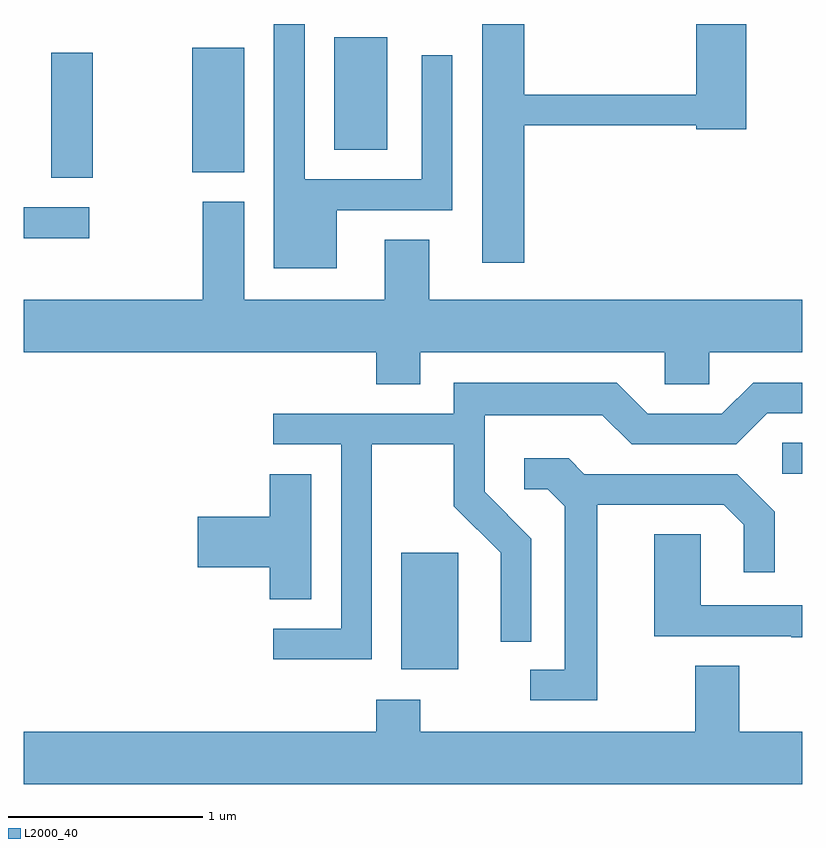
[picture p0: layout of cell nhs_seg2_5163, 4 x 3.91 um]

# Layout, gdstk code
import gdstk
lib = gdstk.Library(unit=1e-6, precision=1e-09)
def R(c, l, rs):  # rectangles x0, y0, x1, y1
    for r in rs: c.add(gdstk.rectangle(r[:2], r[2:], *l))
def P(c, l, *ps):  # polygons
    for p in ps: c.add(gdstk.Polygon(p, *l))
L2000_40 = (2000, 40)

nhs_seg2_5163 = lib.new_cell('nhs_seg2_5163')
R(nhs_seg2_5163, L2000_40, [(339.551,1024.486,339.844,1025.084), (341.508,1025.491,341.611,1025.649), (337.611,1026.701,337.948,1026.859), (337.751,1027.011,337.964,1027.654), (338.476,1027.041,338.744,1027.679), (339.206,1027.156,339.479,1027.734)])
P(nhs_seg2_5163, L2000_40, [(340.184,1027.281),(341.066,1027.281),(341.066,1027.261),(341.324,1027.261),(341.324,1027.802),(341.066,1027.802),(341.066,1027.439),(340.184,1027.439),(340.184,1027.802),(339.966,1027.802),(339.966,1026.576),(340.184,1026.576)],
  [(339.219,1026.846),(339.814,1026.846),(339.814,1027.642),(339.656,1027.642),(339.656,1027.004),(339.054,1027.004),(339.054,1027.802),(338.896,1027.802),(338.896,1026.546),(339.219,1026.546)],
  [(339.649,1026.116),(340.906,1026.116),(340.906,1025.951),(341.134,1025.951),(341.134,1026.116),(341.611,1026.116),(341.611,1026.384),(339.694,1026.384),(339.694,1026.694),(339.466,1026.694),(339.466,1026.384),(338.744,1026.384),(338.744,1026.889),(338.531,1026.889),(338.531,1026.384),(337.611,1026.384),(337.611,1026.116),(339.421,1026.116),(339.421,1025.951),(339.649,1025.951)],
  [(339.399,1025.641),(339.821,1025.641),(339.821,1025.324),(340.061,1025.084),(340.061,1024.628),(340.219,1024.628),(340.219,1025.157),(339.979,1025.397),(339.979,1025.791),(340.584,1025.791),(340.734,1025.641),(341.272,1025.641),(341.432,1025.801),(341.611,1025.801),(341.611,1025.959),(341.359,1025.959),(341.199,1025.799),(340.817,1025.799),(340.657,1025.959),(339.821,1025.959),(339.821,1025.799),(338.893,1025.799),(338.893,1025.641),(339.241,1025.641),(339.241,1024.694),(338.893,1024.694),(338.893,1024.536),(339.399,1024.536)],
  [(340.559,1025.331),(341.209,1025.331),(341.311,1025.228),(341.311,1024.983),(341.469,1024.983),(341.469,1025.296),(341.277,1025.489),(340.492,1025.489),(340.412,1025.569),(340.183,1025.569),(340.183,1025.411),(340.304,1025.411),(340.391,1025.324),(340.391,1024.484),(340.213,1024.484),(340.213,1024.326),(340.559,1024.326)],
  [(339.089,1025.489),(338.876,1025.489),(338.876,1025.269),(338.506,1025.269),(338.506,1025.011),(338.876,1025.011),(338.876,1024.846),(339.089,1024.846)],
  [(341.611,1024.814),(341.089,1024.814),(341.089,1025.179),(340.851,1025.179),(340.851,1024.656),(341.555,1024.656),(341.555,1024.651),(341.611,1024.651)],
  [(341.611,1024.164),(341.289,1024.164),(341.289,1024.504),(341.061,1024.504),(341.061,1024.164),(339.649,1024.164),(339.649,1024.329),(339.421,1024.329),(339.421,1024.164),(337.611,1024.164),(337.611,1023.896),(341.611,1023.896)])

lib.write_gds('nhs_seg2_5163.gds')
